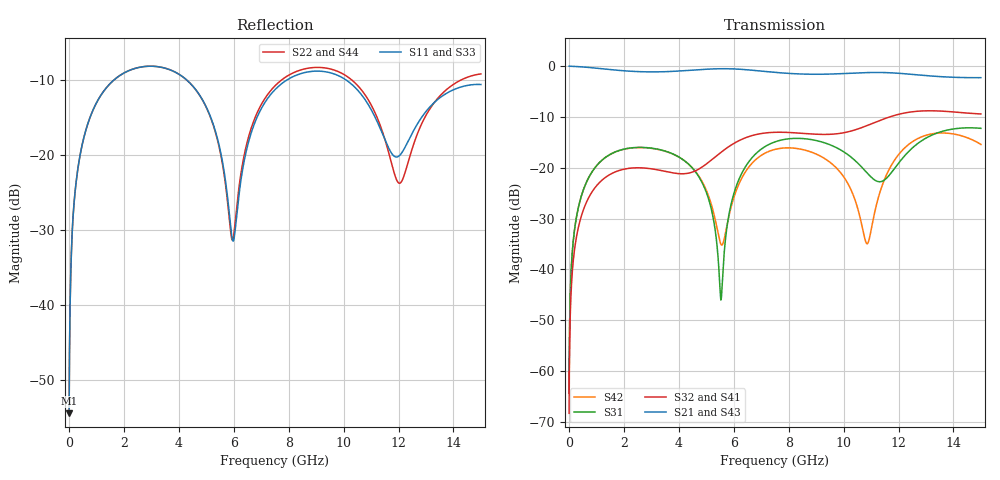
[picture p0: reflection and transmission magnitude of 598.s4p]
! Created with skrf 1.8.0 (http://scikit-rf.org).
# GHz S RI R 50.0
!freq ReS11 ImS11 ReS12 ImS12 ReS13 ImS13
! ReS14 ImS14
! ReS21 ImS21 ReS22 ImS22 ReS23 ImS23
! ReS24 ImS24
! ReS31 ImS31 ReS32 ImS32 ReS33 ImS33
! ReS34 ImS34
! ReS41 ImS41 ReS42 ImS42 ReS43 ImS43
! ReS44 ImS44
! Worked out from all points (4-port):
!   2499 points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, 5 MHz to 15 GHz, reference 50 ohm
!   strongest paths, dB at 5 MHz, 3.476 GHz, 7.19 GHz, 11.1 GHz, 15 GHz:
!     S21: 0.0, -1.1, -1.1, -1.3, -2.3
!     S43: 0.0, -1.1, -1.1, -1.2, -2.3
!     S32: -68.3, -20.7, -13.1, -11.2, -9.4
!     S41: -68.3, -20.7, -13.1, -11.2, -9.5
!     S31: -64.3, -16.7, -15.7, -22.3, -12.2
!     S42: -64.3, -16.7, -17.0, -29.6, -15.4
!   lowest |S11| = -54.5 dB at 5 MHz (marker M1), VSWR 1.00, Z = 50.2 + j0.115 ohm
!   |S11| at or under -10 dB: start of sweep to 1.628 GHz; 4.299 GHz to 7.922 GHz (3.623 GHz wide, 59.3 % of centre); 10.11 GHz to end of sweep
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0.005  0.0015 0.00114  0.9985 -0.00293  7.54e-05 0.000602  -7.32e-05 -0.000376
       0.9985 -0.00293  0.0015 0.00114  -7.32e-05 -0.000376  7.53e-05 0.000602
       7.54e-05 0.000602  -7.32e-05 -0.000376  0.0015 0.00114  0.9985 -0.00293
       -7.32e-05 -0.000376  7.53e-05 0.000602  0.9985 -0.00293  0.0015 0.00114
0.3126303  0.0208 0.0757  0.9717 -0.1829  0.00954 0.0361  -0.0079 -0.0224
           0.9717 -0.1829  0.0208 0.0757  -0.0079 -0.0224  0.00943 0.0361
           0.00954 0.0361  -0.0079 -0.0224  0.0208 0.0757  0.9717 -0.1829
           -0.0079 -0.0224  0.00943 0.0361  0.9717 -0.1829  0.0208 0.0757
1.569404  0.247 0.186  0.5972 -0.7002  0.1211 0.0674  -0.0869 -0.014
          0.5972 -0.7002  0.2475 0.1858  -0.087 -0.014  0.1198 0.069
          0.1211 0.0674  -0.087 -0.014  0.2471 0.1861  0.5972 -0.7003
          -0.0869 -0.014  0.1198 0.069  0.5972 -0.7003  0.2475 0.1858
5.533556  0.0472 -0.0908  -0.897 -0.2887  0.00499 -0.00022  -0.0391 0.1362
          -0.897 -0.2887  0.0462 -0.0878  -0.039 0.1363  -0.0166 -0.00592
          0.00499 -0.00022  -0.039 0.1363  0.0466 -0.0922  -0.8968 -0.2889
          -0.0391 0.1362  -0.0166 -0.00592  -0.8968 -0.2889  0.0475 -0.0886
9.310129  0.3599 -0.0278  0.0275 0.8319  0.1165 -0.1317  0.2033 -0.0611
          0.0275 0.8319  0.3788 -0.0536  0.2034 -0.062  0.1139 -0.047
          0.1165 -0.1317  0.2034 -0.062  0.358 -0.0259  0.0285 0.8326
          0.2033 -0.0611  0.1139 -0.047  0.0285 0.8326  0.377 -0.056
10.85452  0.181 -0.1323  0.6269 0.5936  -0.0572 -0.0682  0.1738 -0.1934
          0.6269 0.5936  0.1713 -0.17  0.173 -0.1941  -0.0152 -0.00934
          -0.0572 -0.0682  0.173 -0.1941  0.1792 -0.1294  0.629 0.5923
          0.1738 -0.1934  -0.0152 -0.00934  0.629 0.5923  0.168 -0.1688
15  0.2963 -0.00546  0.1715 -0.7504  0.1872 -0.1567  -0.3367 -0.0019
    0.1715 -0.7504  0.3485 -0.00306  -0.3382 -0.000336  0.1675 -0.0265
    0.1872 -0.1567  -0.3382 -0.000336  0.3014 -0.00211  0.1677 -0.7487
    -0.3367 -0.0019  0.1675 -0.0265  0.1677 -0.7487  0.3558 -0.00635
